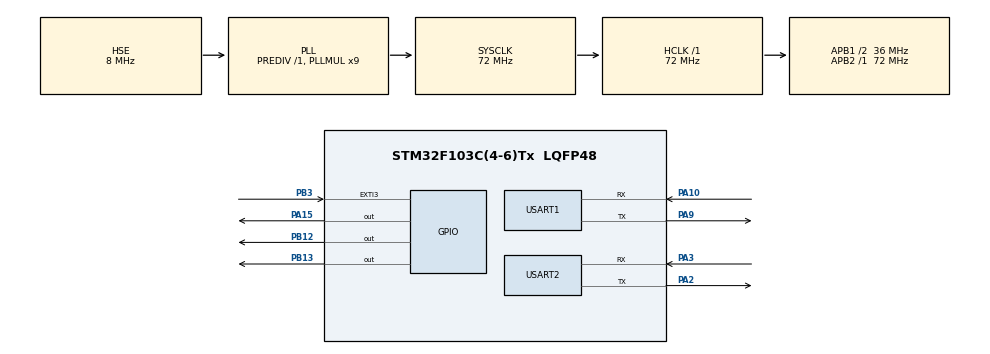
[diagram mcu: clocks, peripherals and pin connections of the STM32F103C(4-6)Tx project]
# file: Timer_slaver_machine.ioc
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Mcu.Family=STM32F1
Mcu.Name=STM32F103C(4-6)Tx
Mcu.Package=LQFP48
NVIC.EXTI3_IRQn=true\:0\:0\:false\:false\:true\:true\:true
NVIC.PriorityGroup=NVIC_PRIORITYGROUP_4
NVIC.TIM1_UP_IRQn=true\:0\:0\:false\:false\:true\:true\:true
NVIC.TIM2_IRQn=true\:0\:0\:false\:false\:true\:true\:true
NVIC.TIM3_IRQn=true\:0\:0\:false\:false\:true\:true\:true
NVIC.USART2_IRQn=true\:0\:0\:false\:false\:true\:true\:true
PA10.Mode=Asynchronous
PA10.Signal=USART1_RX
PA13.Mode=Serial_Wire
PA13.Signal=SYS_JTMS-SWDIO
PA14.Mode=Serial_Wire
PA14.Signal=SYS_JTCK-SWCLK
PA15.GPIO_Speed=GPIO_SPEED_FREQ_HIGH
PA15.PinState=GPIO_PIN_SET
PA15.Signal=GPIO_Output
PA2.Mode=Asynchronous
PA2.Signal=USART2_TX
PA3.GPIO_PuPd=GPIO_PULLUP
PA3.Mode=Asynchronous
PA3.Signal=USART2_RX
PA9.Mode=Asynchronous
PA9.Signal=USART1_TX
PB12.GPIO_Speed=GPIO_SPEED_FREQ_HIGH
PB12.PinState=GPIO_PIN_SET
PB12.Signal=GPIO_Output
PB13.GPIO_Speed=GPIO_SPEED_FREQ_HIGH
PB13.PinState=GPIO_PIN_SET
PB13.Signal=GPIO_Output
PB3.GPIO_ModeDefaultEXTI=GPIO_MODE_IT_RISING
PB3.Signal=GPXTI3
PD0-OSC_IN.Mode=HSE-External-Oscillator
PD0-OSC_IN.Signal=RCC_OSC_IN
PD1-OSC_OUT.Mode=HSE-External-Oscillator
PD1-OSC_OUT.Signal=RCC_OSC_OUT
ProjectManager.HeapSize=0x200
ProjectManager.StackSize=0x400
ProjectManager.TargetToolchain=MDK-ARM V5.32
RCC.AHBFreq_Value=72000000
RCC.APB1CLKDivider=RCC_HCLK_DIV2
RCC.APB1Freq_Value=36000000
RCC.APB1TimFreq_Value=72000000
RCC.APB2Freq_Value=72000000
RCC.APB2TimFreq_Value=72000000
RCC.HCLKFreq_Value=72000000
RCC.PLLMUL=RCC_PLL_MUL9
RCC.PLLSourceVirtual=RCC_PLLSOURCE_HSE
RCC.SYSCLKFreq_VALUE=72000000
RCC.SYSCLKSource=RCC_SYSCLKSOURCE_PLLCLK
RCC.USBFreq_Value=72000000
TIM1.AutoReloadPreload=TIM_AUTORELOAD_PRELOAD_ENABLE
TIM1.Period=9
TIM1.Prescaler=35999
TIM2.Period=199
TIM2.Prescaler=35999
TIM3.Period=199
TIM3.Prescaler=35999
USART1.VirtualMode=VM_ASYNC
USART2.VirtualMode=VM_ASYNC
VP_IWDG_VS_IWDG.Mode=IWDG_Activate
VP_TIM1_VS_ClockSourceINT.Mode=Internal
VP_TIM2_VS_ClockSourceINT.Mode=Internal
VP_TIM3_VS_ClockSourceINT.Mode=Internal
board=custom

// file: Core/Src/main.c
/* USER CODE BEGIN Header */
/**
  ******************************************************************************
  * @file           : main.c
  * @brief          : Main program body
  ******************************************************************************
  * @attention
  *
  * Copyright (c) 2022 STMicroelectronics.
  * All rights reserved.
  *
  * This software is licensed under terms that can be found in the LICENSE file
  * in the root directory of this software component.
  * If no LICENSE file comes with this software, it is provided AS-IS.
  *
  ******************************************************************************
  */
/* USER CODE END Header */
#include "main.h"
#include "iwdg.h"
#include "tim.h"
#include "usart.h"
#include "gpio.h"

/* USER CODE BEGIN Includes */
#include "time_data_deal.h"
/* USER CODE END Includes */

void SystemClock_Config(void);

int main(void)
{
  /* USER CODE BEGIN 1 */
		uint8_t Com_flag = 0;            //	通讯链接标志
    uint8_t Passing_sign = 0;        //设定汽车通过标志
    uint8_t Stop = 0;                //设定重置标志
    uint8_t Plus_sign = 0;           //设定发送+n标志
  /* USER CODE END 1 */

  /* MCU Configuration--------------------------------------------------------*/

  /* Reset of all peripherals, Initializes the Flash interface and the Systick. */
  HAL_Init();

  /* Configure the system clock */
  SystemClock_Config();

  /* Initialize all configured peripherals */
  MX_GPIO_Init();
  MX_USART1_UART_Init();
  MX_TIM1_Init();
  MX_IWDG_Init();
  MX_USART2_UART_Init();
  MX_TIM3_Init();
  MX_TIM2_Init();
  /* USER CODE BEGIN 2 */
	HAL_GPIO_WritePin(GPIOB, GPIO_PIN_12|GPIO_PIN_13, GPIO_PIN_RESET);   //无线模块  M0,M1
	HAL_GPIO_WritePin(GPIOA, GPIO_PIN_15, GPIO_PIN_RESET);                 //蜂鸣器
	EXTI->IMR &= ~(0x08);        //关闭外部中断
  /* USER CODE END 2 */

  /* Infinite loop */
  /* USER CODE BEGIN WHILE */
	  uint8_t ch1 = Com_establishing1;
//		Plus_sign = Timer1_SignPlus();         			//将系统时间赋值
		while(!Com_flag){
			HAL_UART_Transmit(&huart2,(uint8_t * ) & ch1, 1, 0xffff);
			printf("等待与定时器主机连接...\r\n");
			HAL_Delay(400);
			Com_flag = Com_Establish();                          //判断主机是否发送链接标志
		}
		printf("连接成功\r\n");
    while(1){
			  Plus_sign = Timer1_SignPlus();	 				  //将系统时间赋值
        Passing_sign = EXTI3_Query();             //刷新外部中断条件
			  while (Passing_sign == 1){       				  //车辆通过终点
					Stop = Stop_Check();				 		  		  //循环检测主机停止信号
					if (Stop == 1)                				  //如果接收到来自主机的停止信号，则重置系统并退出
					{
						Passing_sign = Stop = 0;				       //清除循环内标志变量
						System_Reset();							           //系统重置
						break;
					}
					else                                      //若未检测到，则循环发送
					{
						uint8_t dat;
						if (Plus_sign != Timer1_SignPlus())
						{
							dat = (Slaver_Time_stop | (Timer1_SignPlus() << 4));
//						printf("dat = 0x%x",dat);
							HAL_UART_Transmit(&huart2, (uint8_t * ) & dat, 1, 0xffff);
							Plus_sign = Timer1_SignPlus();
							if (Plus_sign == 10)                                                 //500ms
							{
								Passing_sign = 0;				                                          //清除循环内标志变量
								System_Reset();							                                        //系统重置
								break;
							}
						}
					}
				}
    /* USER CODE END WHILE */

    }
}

void SystemClock_Config(void)
{
  RCC_OscInitTypeDef RCC_OscInitStruct = {0};
  RCC_ClkInitTypeDef RCC_ClkInitStruct = {0};

  /** Initializes the RCC Oscillators according to the specified parameters
  * in the RCC_OscInitTypeDef structure.
  */
  RCC_OscInitStruct.OscillatorType = RCC_OSCILLATORTYPE_LSI|RCC_OSCILLATORTYPE_HSE;
  RCC_OscInitStruct.HSEState = RCC_HSE_ON;
  RCC_OscInitStruct.HSEPredivValue = RCC_HSE_PREDIV_DIV1;
  RCC_OscInitStruct.HSIState = RCC_HSI_ON;
  RCC_OscInitStruct.LSIState = RCC_LSI_ON;
  RCC_OscInitStruct.PLL.PLLState = RCC_PLL_ON;
  RCC_OscInitStruct.PLL.PLLSource = RCC_PLLSOURCE_HSE;
  RCC_OscInitStruct.PLL.PLLMUL = RCC_PLL_MUL9;
  if (HAL_RCC_OscConfig(&RCC_OscInitStruct) != HAL_OK)
  {
    Error_Handler();
  }
  /** Initializes the CPU, AHB and APB buses clocks
  */
  RCC_ClkInitStruct.ClockType = RCC_CLOCKTYPE_HCLK|RCC_CLOCKTYPE_SYSCLK
                              |RCC_CLOCKTYPE_PCLK1|RCC_CLOCKTYPE_PCLK2;
  RCC_ClkInitStruct.SYSCLKSource = RCC_SYSCLKSOURCE_PLLCLK;
  RCC_ClkInitStruct.AHBCLKDivider = RCC_SYSCLK_DIV1;
  RCC_ClkInitStruct.APB1CLKDivider = RCC_HCLK_DIV2;
  RCC_ClkInitStruct.APB2CLKDivider = RCC_HCLK_DIV1;

  if (HAL_RCC_ClockConfig(&RCC_ClkInitStruct, FLASH_LATENCY_2) != HAL_OK)
  {
    Error_Handler();
  }
}

void Error_Handler(void)
{
    __disable_irq();
    while (1) {
    }
}
